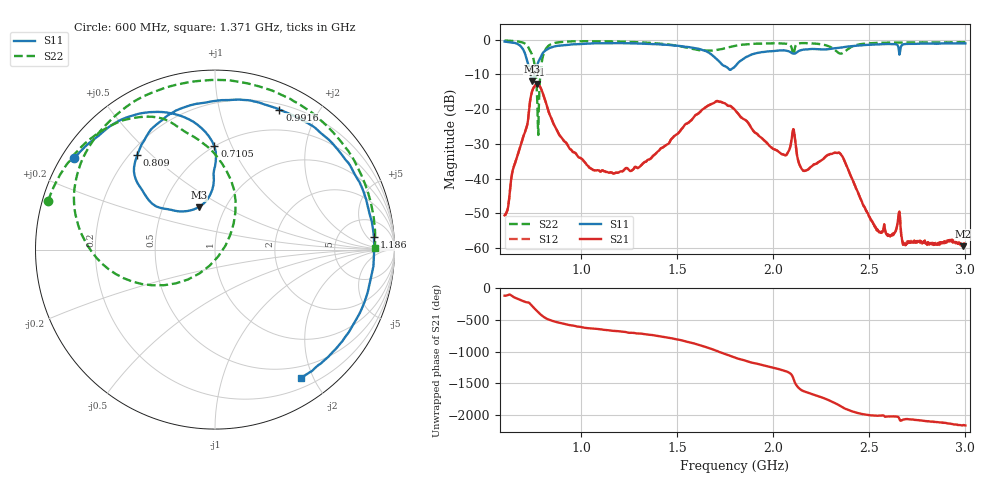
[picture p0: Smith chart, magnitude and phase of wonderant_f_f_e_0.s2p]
#  HZ  S  RI  R  50.00
! Rohde & Schwarz ZVB8 2Ports - Version 2.81 - 1145.1010k08 SN: 100113
! Date: 2016-05-17 22:37:58
! Measurements: S11 S21 S12 S22
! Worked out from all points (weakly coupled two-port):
!   1000 points, 600 MHz to 3 GHz, reference 50 ohm
!   highest |S21| = -12.76 dB at 768.2 MHz (marker M1); lowest = -59.4 dB at 2.988 GHz (marker M2)
!   lowest |S11| = -12.0 dB at 744.1 MHz (marker M3), VSWR 1.68, Z = 37.6 + j18.9 ohm
!   |S11| at or under -10 dB: 736.1 MHz to 756.5 MHz (20.4 MHz wide, 2.73 % of centre)
!   |S22| runs from -27.4 to -0.3 dB; largest |S21 - S12| = 0.003
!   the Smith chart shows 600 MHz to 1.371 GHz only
!   S11 on the Smith chart (normalised r, x): 600 MHz: 0.04, +0.30; 710.5 MHz: 0.50, +0.86; 809 MHz: 0.23, +0.45; 991.6 MHz: 0.26, +1.53; 1.186 GHz: 12, +8; 1.371 GHz: 0.33, -1.83
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6e8  -0.7839 0.5084  -0.00153 -0.00254  -0.00157 -0.00255  -0.93 0.2717
7.105105e8  -0.00336 0.5756  -0.0378 0.0341  -0.0383 0.0333  -0.4422 0.7352
7.441441e8  -0.0909 0.2356  0.0504 0.1766  0.0511 0.1768  -0.0625 0.5896
7.681682e8  -0.3274 0.2405  0.2301 -0.00408  0.2304 -0.00374  0.1036 0.1436
8.09009e8  -0.4332 0.5275  -0.0369 -0.1345  -0.0366 -0.1346  -0.6862 -0.0129
8.762763e8  -0.1727 0.7919  -0.0474 0.00099  -0.0475 0.00095  -0.6984 0.5779
9.915916e8  0.3592 0.78  -0.00665 0.0189  -0.00663 0.0188  -0.2654 0.9053
1.001201e9  0.3995 0.7631  -0.00448 0.0188  -0.00453 0.0188  -0.2256 0.9162
1.186186e9  0.8854 0.0692  0.00925 0.00797  0.00913 0.008  0.5246 0.7743
1.371171e9  0.4794 -0.7145  0.0195 -0.00772  0.0196 -0.00771  0.8905 0.00708
1.4e9  0.3494 -0.7796  0.0203 -0.0143  0.0204 -0.0143  0.8646 -0.1411
1.616216e9  -0.5909 -0.4241  -0.09 -0.00257  -0.09 -0.00278  0.1381 -0.6867
1.801201e9  -0.4112 -0.0365  0.0919 -0.0291  0.092 -0.0286  -0.5053 -0.6345
1.902102e9  -0.5359 0.3286  -0.0109 -0.0451  -0.0105 -0.0452  -0.8303 -0.2614
2.027027e9  0.0243 0.6945  -0.0235 0.00657  -0.0236 0.00647  -0.8231 0.3229
2.103904e9  0.4012 0.4813  0.0496 0.0143  0.0493 0.0146  -0.4428 0.3872
2.144745e9  0.5749 0.4067  -0.0137 -0.00368  -0.0137 -0.00386  -0.5939 0.6582
2.2e9  0.7273 0.0795  -0.01 0.0113  -0.0101 0.0112  -0.3611 0.8019
2.348949e9  0.4586 -0.6105  0.0123 -0.0192  0.0122 -0.0191  0.0909 0.6209
2.601201e9  -0.5997 -0.6186  -0.00113 0.00104  -0.00115 0.00104  0.7916 0.4296
2.987988e9  -0.6758 0.5602  0.00107 5.26e-05  0.00119 7.21e-05  0.5634 -0.7173
3e9  -0.653 0.587  0.00114 -6.39e-05  0.00108 -3.29e-05  0.5379 -0.7385
